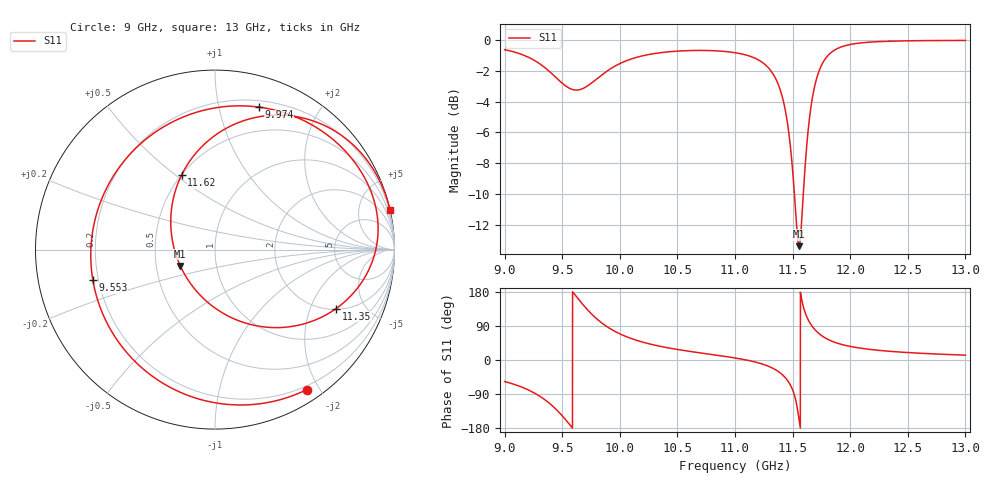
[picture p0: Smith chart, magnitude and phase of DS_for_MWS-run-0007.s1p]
! TOUCHSTONE file generated by CST DESIGN STUDIO
! Date and time: Tue Feb  4 16:47:16 2025
! Project name: C:\Work\MatlabApps\UnitCellOptimizationMatlab\CST\unitcell.cst
! Tree item: Tasks\Sweep1\SPara1\S-Parameters
! Header version: 2024
! Port assignment regex: !\s*Touchstone port\s*([0-9]+)\s*=\s*(CST MWS port|CST DES external port|CST DES block port)\s*(.+)\s* \(\"(.*)\"\)(\s*mode\s*([0-9]+))?.*
! Touchstone port assignment:
! Touchstone port 1 = CST DES external port 1 ("")
# GHz S MA R 50
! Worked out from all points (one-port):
!   4001 points, 9 GHz to 13 GHz, reference 50 ohm
!   lowest |S11| = -13.4 dB at 11.55 GHz (marker M1), VSWR 1.54, Z = 33.3 - j6.31 ohm
!   |S11| at or under -10 dB: 11.52 GHz to 11.59 GHz (77.52 MHz wide, 0.671 % of centre)
!   S11 on the Smith chart (normalised r, x): 9 GHz: 0.15, -1.84; 9.553 GHz: 0.18, -0.12; 9.974 GHz: 0.26, +1.32; 11.35 GHz: 2.05, -3.08; 11.62 GHz: 0.50, +0.53; 13 GHz: 0.02, +8.94
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9  0.9327 -56.8
9.155  0.8982 -72.3
9.305  0.839 -95.5
9.405  0.7823 -118.4
9.5  0.7253 -147.2
9.553  0.7014 -166.1
9.647  0.6904 158.3
9.762  0.7301 119.3
9.858  0.7792 94.5
9.974  0.8306 72.9
10  0.8401 69.0
10.215  0.8938 45.8
10.5  0.9227 27.8
11  0.9119 5.4
11.217  0.8578 -8.8
11.353  0.7508 -25.9
11.443  0.575 -48.9
11.5  0.3781 -78.7
11.555  0.2136 -154.9
11.588  0.2946 146.9
11.623  0.4558 114.1
11.674  0.6573 87.4
11.733  0.801 68.7
11.846  0.9201 49.0
12  0.9698 35.8
12.197  0.9885 27.0
12.5  0.9968 19.6
13  0.9996 12.8
